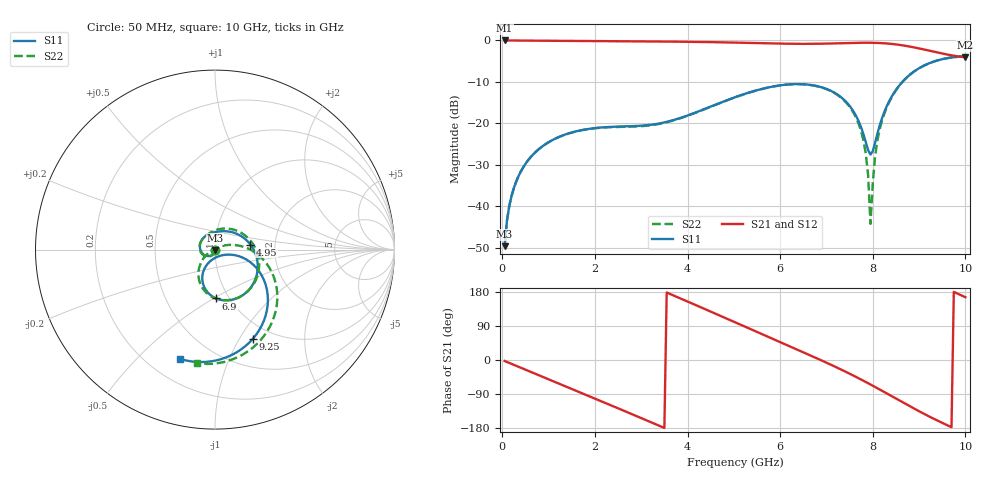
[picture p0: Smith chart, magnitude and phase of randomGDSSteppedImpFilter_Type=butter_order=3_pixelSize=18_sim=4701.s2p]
! freq	dB(S11)	phase(S11)	dB(S12)	phase(S12)
!  dB(S21)	phase(S21)	dB(S22)	phase(S22)
!S-par simulation data
#  GHz  S  DB  R 50
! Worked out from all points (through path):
!   200 points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, 50 MHz to 10 GHz, reference 50 ohm
!   highest |S21| = 0.00 dB at 50 MHz (marker M1); lowest = -4.1 dB at 10 GHz (marker M2)
!   group delay of S21, straight-line fit = 153 ps
!   lowest |S11| = -49.6 dB at 50 MHz (marker M3), VSWR 1.01, Z = 50 - j0.331 ohm
!   |S11| at or under -10 dB: start of sweep to 8.638 GHz
!   |S22| runs from -49.6 to -3.9 dB; largest |S21 - S12| = 0
!   S11 on the Smith chart (normalised r, x): 50 MHz: 1.00, -0.01; 4.95 GHz: 1.49, +0.09; 6.9 GHz: 0.87, -0.51; 9.25 GHz: 0.82, -1.14; 10 GHz: 0.33, -0.68
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0.05  -49.58 -86.0  -0.00 -2.6  -0.00 -2.6  -49.58 -85.8
0.2  -37.48 -99.3  -0.02 -10.3  -0.02 -10.3  -37.48 -98.5
0.5  -29.75 -116.8  -0.04 -25.5  -0.04 -25.5  -29.75 -114.7
1.15  -23.63 -152.5  -0.09 -58.6  -0.09 -58.6  -23.64 -147.3
1.75  -21.54 174.8  -0.13 -89.1  -0.13 -89.1  -21.57 -176.4
2.5  -20.76 132.6  -0.18 -127.4  -0.18 -127.4  -20.85 146.8
3.4  -19.99 84.2  -0.26 -174.1  -0.26 -174.1  -20.09 102.8
4.1  -17.68 49.5  -0.34 149.1  -0.34 149.1  -17.74 65.1
4.95  -13.99 8.0  -0.50 103.7  -0.50 103.7  -14.03 17.2
5.05  -13.59 3.2  -0.52 98.3  -0.52 98.3  -13.62 11.6
5.8  -11.20 -33.7  -0.72 58.0  -0.72 58.0  -11.21 -29.6
6.7  -10.80 -78.6  -0.81 9.6  -0.81 9.6  -10.82 -78.8
6.9  -11.30 -88.5  -0.78 -1.4  -0.78 -1.4  -11.34 -90.0
7.7  -19.61 -118.8  -0.57 -48.5  -0.57 -48.5  -20.25 -139.0
7.85  -24.56 -106.5  -0.55 -58.0  -0.55 -58.0  -27.35 -152.3
7.9  -26.46 -92.6  -0.55 -61.3  -0.55 -61.3  -32.57 -161.3
7.95  -27.50 -70.6  -0.56 -64.6  -0.56 -64.6  -44.20 140.7
8  -26.71 -47.0  -0.57 -67.9  -0.57 -67.9  -34.39 40.3
8.1  -22.46 -21.7  -0.60 -74.5  -0.60 -74.5  -24.11 22.7
8.35  -14.73 -17.6  -0.77 -91.5  -0.77 -91.5  -14.96 2.7
9.25  -5.36 -66.9  -2.54 -151.0  -2.54 -151.0  -5.35 -57.4
10  -3.89 -107.6  -4.07 165.6  -4.07 165.6  -3.87 -98.9
